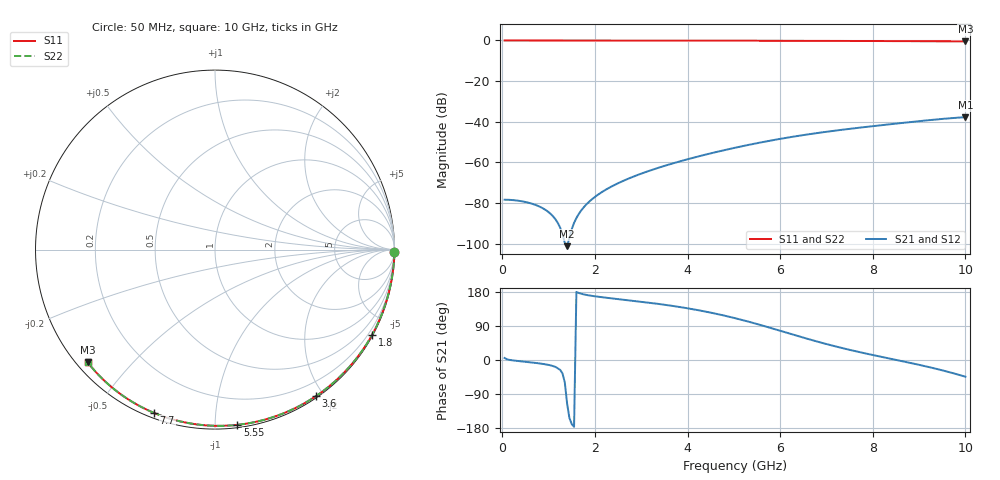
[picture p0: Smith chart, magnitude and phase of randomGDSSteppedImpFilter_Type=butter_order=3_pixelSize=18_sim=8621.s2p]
! freq	dB(S11)	phase(S11)	dB(S12)	phase(S12)
!  dB(S21)	phase(S21)	dB(S22)	phase(S22)
!S-par simulation data
#  GHz  S  DB  R 50
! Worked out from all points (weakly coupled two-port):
!   200 points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, 50 MHz to 10 GHz, reference 50 ohm
!   highest |S21| = -37.75 dB at 10 GHz (marker M1); lowest = -101.2 dB at 1.4 GHz (marker M2)
!   lowest |S11| = -0.5 dB at 10 GHz (marker M3), VSWR 37.14, Z = 1.54 - j19 ohm
!   |S11| at or under -10 dB: nowhere
!   |S22| runs from -0.5 to 0.0 dB; largest |S21 - S12| = 0
!   S11 on the Smith chart (normalised r, x): 50 MHz: open; 1.8 GHz: 0.03, -3.95; 3.6 GHz: 0.02, -1.90; 5.55 GHz: 0.02, -1.14; 7.7 GHz: 0.02, -0.69; 10 GHz: 0.03, -0.38
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0.05  -0.00 -0.8  -78.34 5.3  -78.34 5.3  -0.00 -0.8
0.35  -0.01 -5.6  -78.84 -2.8  -78.84 -2.8  -0.01 -5.6
0.6  -0.01 -9.6  -80.02 -6.1  -80.02 -6.1  -0.01 -9.6
1.4  -0.03 -22.2  -101.19 -115.5  -101.19 -115.5  -0.03 -22.2
1.75  -0.03 -27.6  -82.30 173.4  -82.30 173.4  -0.03 -27.6
1.8  -0.04 -28.4  -81.02 172.1  -81.02 172.1  -0.04 -28.4
1.85  -0.04 -29.2  -79.87 170.9  -79.87 170.9  -0.04 -29.2
1.95  -0.04 -30.7  -77.86 169.0  -77.86 169.0  -0.04 -30.7
2.1  -0.04 -33.0  -75.34 166.5  -75.34 166.5  -0.04 -33.0
2.25  -0.04 -35.3  -73.20 164.3  -73.20 164.3  -0.04 -35.3
2.45  -0.05 -38.4  -70.78 161.5  -70.78 161.5  -0.05 -38.4
2.85  -0.06 -44.4  -66.80 155.9  -66.80 155.9  -0.06 -44.4
3.4  -0.07 -52.5  -62.41 147.5  -62.41 147.5  -0.07 -52.5
3.6  -0.08 -55.5  -61.02 144.1  -61.02 144.1  -0.08 -55.5
4.3  -0.09 -65.5  -56.66 129.8  -56.66 129.8  -0.09 -65.5
5.05  -0.12 -75.9  -52.65 109.7  -52.65 109.7  -0.12 -75.9
5.55  -0.14 -82.7  -50.30 93.3  -50.30 93.3  -0.14 -82.7
6.7  -0.19 -97.8  -45.87 52.1  -45.87 52.1  -0.19 -97.8
7.7  -0.25 -110.5  -42.93 21.2  -42.93 21.2  -0.25 -110.5
8.35  -0.30 -118.5  -41.27 4.2  -41.27 4.2  -0.30 -118.5
9.4  -0.40 -131.2  -38.80 -24.2  -38.80 -24.2  -0.40 -131.2
10  -0.47 -138.4  -37.75 -44.0  -37.75 -44.0  -0.47 -138.4
